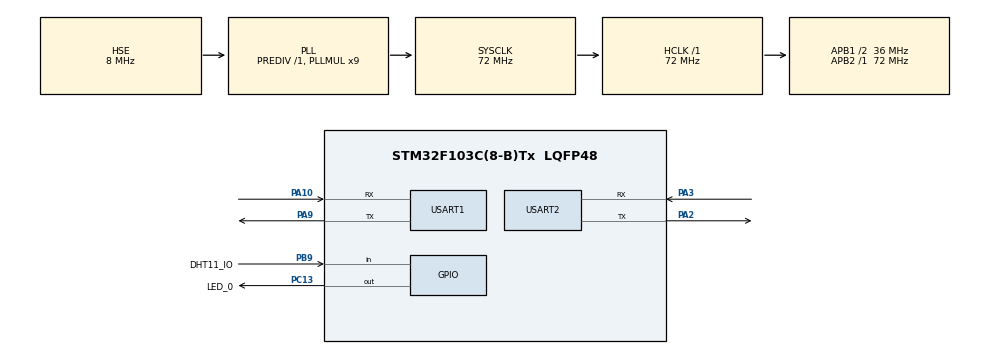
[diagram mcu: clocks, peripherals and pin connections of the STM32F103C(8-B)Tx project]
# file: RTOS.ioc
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FREERTOS.Tasks01=Task_Dht11,24,256,App_Task_Dht11,Default,NULL,Dynamic,NULL,NULL;Task_LED,8,128,App_Task_LED,Default,NULL,Dynamic,NULL,NULL;Task_Info,24,256,App_Task_Info,Default,NULL,Dynamic,NULL,NULL
FREERTOS.configUSE_STATS_FORMATTING_FUNCTIONS=1
Mcu.Family=STM32F1
Mcu.Name=STM32F103C(8-B)Tx
Mcu.Package=LQFP48
NVIC.PriorityGroup=NVIC_PRIORITYGROUP_4
NVIC.TIM1_UP_IRQn=true\:0\:0\:true\:false\:true\:false\:false\:true\:true
NVIC.TimeBase=TIM1_UP_IRQn
NVIC.TimeBaseIP=TIM1
PA10.Mode=Asynchronous
PA10.Signal=USART1_RX
PA13.Mode=Serial_Wire
PA13.Signal=SYS_JTMS-SWDIO
PA14.Mode=Serial_Wire
PA14.Signal=SYS_JTCK-SWCLK
PA2.Mode=Asynchronous
PA2.Signal=USART2_TX
PA3.Mode=Asynchronous
PA3.Signal=USART2_RX
PA9.Mode=Asynchronous
PA9.Signal=USART1_TX
PB9.GPIO_Label=DHT11_IO
PB9.GPIO_PuPd=GPIO_PULLUP
PB9.Signal=GPIO_Input
PC13-TAMPER-RTC.GPIO_Label=LED_0
PC13-TAMPER-RTC.GPIO_PuPd=GPIO_NOPULL
PC13-TAMPER-RTC.GPIO_Speed=GPIO_SPEED_FREQ_HIGH
PC13-TAMPER-RTC.Signal=GPIO_Output
PD0-OSC_IN.Mode=HSE-External-Oscillator
PD0-OSC_IN.Signal=RCC_OSC_IN
PD1-OSC_OUT.Mode=HSE-External-Oscillator
PD1-OSC_OUT.Signal=RCC_OSC_OUT
ProjectManager.HeapSize=0x200
ProjectManager.StackSize=0x400
ProjectManager.TargetToolchain=MDK-ARM V5.32
RCC.AHBFreq_Value=72000000
RCC.APB1CLKDivider=RCC_HCLK_DIV2
RCC.APB1Freq_Value=36000000
RCC.APB1TimFreq_Value=72000000
RCC.APB2Freq_Value=72000000
RCC.APB2TimFreq_Value=72000000
RCC.HCLKFreq_Value=72000000
RCC.PLLMUL=RCC_PLL_MUL9
RCC.PLLSourceVirtual=RCC_PLLSOURCE_HSE
RCC.SYSCLKFreq_VALUE=72000000
RCC.SYSCLKSource=RCC_SYSCLKSOURCE_PLLCLK
RCC.USBFreq_Value=72000000
TIM4.Prescaler=71
USART1.VirtualMode=VM_ASYNC
USART2.VirtualMode=VM_ASYNC
VP_FREERTOS_VS_CMSIS_V2.Mode=CMSIS_V2
VP_SYS_VS_tim1.Mode=TIM1
VP_TIM4_VS_ClockSourceINT.Mode=Internal
board=custom

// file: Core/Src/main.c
/* USER CODE BEGIN Header */
/**
  ******************************************************************************
  * @file           : main.c
  * @brief          : Main program body
  ******************************************************************************
  * @attention
  *
  * Copyright (c) 2024 STMicroelectronics.
  * All rights reserved.
  *
  * This software is licensed under terms that can be found in the LICENSE file
  * in the root directory of this software component.
  * If no LICENSE file comes with this software, it is provided AS-IS.
  *
  ******************************************************************************
  */
/* USER CODE END Header */
#include "main.h"
#include "cmsis_os.h"
#include "tim.h"
#include "usart.h"
#include "gpio.h"

/* USER CODE BEGIN Includes */

#include "stdio.h"

#define LOG_TAG    "Main"
#include <elog.h>

/* USER CODE END Includes */

/* USER CODE BEGIN PV */
int fputc(int ch, FILE *f)
{
  HAL_UART_Transmit(&huart1,(uint8_t *)&ch,1,10);
  return ch;
}
/* USER CODE END PV */

void SystemClock_Config(void);
void MX_FREERTOS_Init(void);

int main(void)
{

  /* MCU Configuration--------------------------------------------------------*/

  /* Reset of all peripherals, Initializes the Flash interface and the Systick. */
  HAL_Init();

  /* Configure the system clock */
  SystemClock_Config();

  /* Initialize all configured peripherals */
  MX_GPIO_Init();
  MX_USART1_UART_Init();
  MX_TIM4_Init();
  MX_USART2_UART_Init();
  /* USER CODE BEGIN 2 */

  /* close printf buffer */
  setbuf(stdout, NULL);
  /* initialize EasyLogger */
  elog_init();
  /* set EasyLogger log format */
  elog_set_fmt(ELOG_LVL_ASSERT, ELOG_FMT_ALL);
//  elog_set_fmt(ELOG_LVL_ERROR, ELOG_FMT_LVL | ELOG_FMT_TAG);
//  elog_set_fmt(ELOG_LVL_WARN, ELOG_FMT_LVL | ELOG_FMT_TAG);
//  elog_set_fmt(ELOG_LVL_INFO, ELOG_FMT_LVL | ELOG_FMT_TAG);
//  elog_set_fmt(ELOG_LVL_DEBUG, ELOG_FMT_ALL & ~ELOG_FMT_FUNC);
//  elog_set_fmt(ELOG_LVL_VERBOSE, ELOG_FMT_ALL & ~ELOG_FMT_FUNC);
  /* start EasyLogger */
  elog_start();
  log_d("日志功能初始化成功");

  /* USER CODE END 2 */

  /* Init scheduler */
  osKernelInitialize();

  /* Call init function for freertos objects (in freertos.c) */
  MX_FREERTOS_Init();

  /* Start scheduler */
  osKernelStart();

  /* We should never get here as control is now taken by the scheduler */
  /* Infinite loop */
  while (1)
  {

  }
}

void SystemClock_Config(void)
{
  RCC_OscInitTypeDef RCC_OscInitStruct = {0};
  RCC_ClkInitTypeDef RCC_ClkInitStruct = {0};

  /** Initializes the RCC Oscillators according to the specified parameters
  * in the RCC_OscInitTypeDef structure.
  */
  RCC_OscInitStruct.OscillatorType = RCC_OSCILLATORTYPE_HSE;
  RCC_OscInitStruct.HSEState = RCC_HSE_ON;
  RCC_OscInitStruct.HSEPredivValue = RCC_HSE_PREDIV_DIV1;
  RCC_OscInitStruct.HSIState = RCC_HSI_ON;
  RCC_OscInitStruct.PLL.PLLState = RCC_PLL_ON;
  RCC_OscInitStruct.PLL.PLLSource = RCC_PLLSOURCE_HSE;
  RCC_OscInitStruct.PLL.PLLMUL = RCC_PLL_MUL9;
  if (HAL_RCC_OscConfig(&RCC_OscInitStruct) != HAL_OK)
  {
    Error_Handler();
  }

  /** Initializes the CPU, AHB and APB buses clocks
  */
  RCC_ClkInitStruct.ClockType = RCC_CLOCKTYPE_HCLK|RCC_CLOCKTYPE_SYSCLK
                              |RCC_CLOCKTYPE_PCLK1|RCC_CLOCKTYPE_PCLK2;
  RCC_ClkInitStruct.SYSCLKSource = RCC_SYSCLKSOURCE_PLLCLK;
  RCC_ClkInitStruct.AHBCLKDivider = RCC_SYSCLK_DIV1;
  RCC_ClkInitStruct.APB1CLKDivider = RCC_HCLK_DIV2;
  RCC_ClkInitStruct.APB2CLKDivider = RCC_HCLK_DIV1;

  if (HAL_RCC_ClockConfig(&RCC_ClkInitStruct, FLASH_LATENCY_2) != HAL_OK)
  {
    Error_Handler();
  }
}

void HAL_TIM_PeriodElapsedCallback(TIM_HandleTypeDef *htim)
{
  if (htim->Instance == TIM1) {
    HAL_IncTick();
  }
}

void Error_Handler(void)
{
  __disable_irq();
  while (1)
  {
  }
}

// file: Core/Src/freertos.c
/* USER CODE BEGIN Header */
/**
  ******************************************************************************
  * File Name          : freertos.c
  * Description        : Code for freertos applications
  ******************************************************************************
  * @attention
  *
  * Copyright (c) 2024 STMicroelectronics.
  * All rights reserved.
  *
  * This software is licensed under terms that can be found in the LICENSE file
  * in the root directory of this software component.
  * If no LICENSE file comes with this software, it is provided AS-IS.
  *
  ******************************************************************************
  */
/* USER CODE END Header */

#include "FreeRTOS.h"
#include "task.h"
#include "main.h"
#include "cmsis_os.h"

/* USER CODE BEGIN Includes */
#include "bsp.h"
#define LOG_TAG    "RTOS"
#include <elog.h>
#include "dht11.h"
/* USER CODE END Includes */

/* USER CODE BEGIN PTD */

typedef struct htsensor_t{
  uint8_t humi;     //温度
  uint8_t temp;   //湿度
}htsensor_t;
htsensor_t g_htsensor;
/* USER CODE END PTD */

/* Definitions for Task_Dht11 */
osThreadId_t Task_Dht11Handle;
const osThreadAttr_t Task_Dht11_attributes = {
  .name = "Task_Dht11",
  .stack_size = 256 * 4,
  .priority = (osPriority_t) osPriorityNormal,
};
/* Definitions for Task_LED */
osThreadId_t Task_LEDHandle;
const osThreadAttr_t Task_LED_attributes = {
  .name = "Task_LED",
  .stack_size = 128 * 4,
  .priority = (osPriority_t) osPriorityLow,
};
/* Definitions for Task_Info */
osThreadId_t Task_InfoHandle;
const osThreadAttr_t Task_Info_attributes = {
  .name = "Task_Info",
  .stack_size = 256 * 4,
  .priority = (osPriority_t) osPriorityNormal,
};

void App_Task_Dht11(void *argument);
void App_Task_LED(void *argument);
void App_Task_Info(void *argument);

void MX_FREERTOS_Init(void); /* (MISRA C 2004 rule 8.1) */

void MX_FREERTOS_Init(void) {

  /* Create the thread(s) */
  /* creation of Task_Dht11 */
  Task_Dht11Handle = osThreadNew(App_Task_Dht11, NULL, &Task_Dht11_attributes);

  /* creation of Task_LED */
  Task_LEDHandle = osThreadNew(App_Task_LED, NULL, &Task_LED_attributes);

  /* creation of Task_Info */
  Task_InfoHandle = osThreadNew(App_Task_Info, NULL, &Task_Info_attributes);

}

void App_Task_Dht11(void *argument)
{
  /* USER CODE BEGIN App_Task_Dht11 */

  TickType_t pxPreviousWakeTime = xTaskGetTickCount();
  /* Infinite loop */
  for(;;)
  {

    if(DHT11_Read_Data(&g_htsensor.temp,&g_htsensor.humi) == 0)
    {
      log_i("ReadOk,hum = %d,Temp = %d\n",g_htsensor.humi,g_htsensor.temp);
    }
    else
    {
      log_e("ReadError!\n");
    }

    vTaskDelayUntil(&pxPreviousWakeTime, pdMS_TO_TICKS(1000)); // 500ms delay

  }
  /* USER CODE END App_Task_Dht11 */
}

void App_Task_LED(void *argument)
{
  /* USER CODE BEGIN App_Task_LED */
  TickType_t pxPreviousWakeTime = xTaskGetTickCount();
  /* Infinite loop */
  for(;;)
  {
    LED_Toggle();
    vTaskDelayUntil(&pxPreviousWakeTime, pdMS_TO_TICKS(500)); // 500ms delay
    //osDelay(500);‘

  }
  /* USER CODE END App_Task_LED */
}

void App_Task_Info(void *argument)
{
  /* USER CODE BEGIN App_Task_Info */

  //----------------------------------------------------------------
  //获取当前的系统时钟计数值（Tick数）
  TickType_t pxPreviousWakeTime = xTaskGetTickCount();

  //----------------------------------------------------------------
  //获取特定任务的信息
  TaskHandle_t taskHandle = Task_Dht11Handle;
  TaskStatus_t taskInfo;
  BaseType_t getFreeStackSpace = pdTRUE;
  eTaskState taskState = eInvalid;
  vTaskGetInfo(taskHandle, &taskInfo, getFreeStackSpace, taskState);

  taskENTER_CRITICAL();//进入临界代码段

  //----------------------------------------------------------------
  //打印特定任务信息
  log_a("Task_Info");
  log_i("Task Name :            %s", taskInfo.pcTaskName);
  log_i("task Number:           %d", &taskInfo.xTaskNumber);
  log_i("Task State:            %d", taskInfo.eCurrentState);
  log_i("Task Priority:         %d", taskInfo.uxCurrentPriority);
  log_i("Stack High Water Mark: %d(Word)", taskInfo.usStackHighWaterMark);

  //----------------------------------------------------------------
  //获取空闲任务和特定任务的堆栈高水位值
  taskHandle = xTaskGetIdleTaskHandle();
  log_a("StackHighWaterMark:");
  log_i("Idle task =        %d",uxTaskGetStackHighWaterMark(taskHandle));
  log_i("Task_Dht11Handle = %d",uxTaskGetStackHighWaterMark(Task_Dht11Handle));
  log_i("Task_LEDHandle =   %d",uxTaskGetStackHighWaterMark(Task_LEDHandle));
  log_i("Task_InfoHandle =  %d",uxTaskGetStackHighWaterMark(Task_InfoHandle));

  //----------------------------------------------------------------
  //输出内核信息和任务列表
  log_a("Kernel Info:");
  log_i("uxTaskGetNumberOfTasks = %d", uxTaskGetNumberOfTasks());

  char pcWriteBuffer[300];
  vTaskList(pcWriteBuffer);
  log_i("Task List:%s",pcWriteBuffer);

  taskEXIT_CRITICAL();//退出临界代码段

  /* Infinite loop */
  //for(;;)
  //{
   // osDelay(1);
    for(uint8_t i = 0; i < 10; ++i)
    {
      LED_Toggle();
      osDelay(100);
    }
  //}

  log_a("Task_uart is deleted!");
  vTaskDelete(NULL);//为NULL是删除当前任务

  /* USER CODE END App_Task_Info */
}
